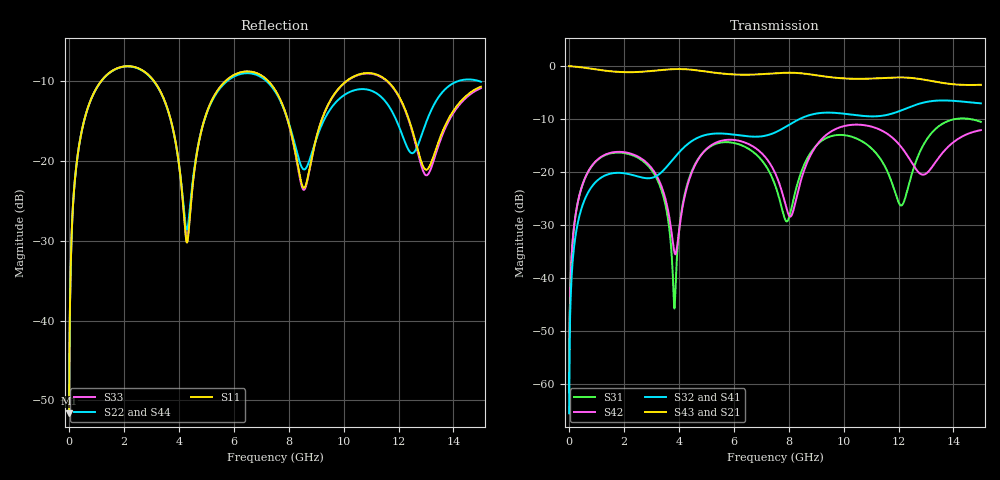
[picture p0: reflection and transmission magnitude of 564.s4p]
! Created with skrf 1.8.0 (http://scikit-rf.org).
# GHz S RI R 50.0
!freq ReS11 ImS11 ReS12 ImS12 ReS13 ImS13
! ReS14 ImS14
! ReS21 ImS21 ReS22 ImS22 ReS23 ImS23
! ReS24 ImS24
! ReS31 ImS31 ReS32 ImS32 ReS33 ImS33
! ReS34 ImS34
! ReS41 ImS41 ReS42 ImS42 ReS43 ImS43
! ReS44 ImS44
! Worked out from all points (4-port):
!   2499 points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, 5 MHz to 15 GHz, reference 50 ohm
!   strongest paths, dB at 5 MHz, 3.476 GHz, 7.19 GHz, 11.1 GHz, 15 GHz:
!     S43: 0.0, -0.7, -1.5, -2.3, -3.5
!     S21: 0.0, -0.7, -1.5, -2.3, -3.5
!     S32: -65.5, -19.5, -13.1, -9.5, -7.0
!     S41: -65.5, -19.5, -13.1, -9.5, -7.2
!     S42: -61.5, -24.4, -17.4, -11.5, -12.1
!     S31: -61.5, -25.4, -19.0, -15.9, -10.5
!   lowest |S11| = -51.6 dB at 5 MHz (marker M1), VSWR 1.01, Z = 50.2 + j0.159 ohm
!   |S11| at or under -10 dB: 3.105 GHz to 5.687 GHz (2.583 GHz wide, 58.7 % of centre); 7.271 GHz to 10.09 GHz (2.816 GHz wide, 32.5 % of centre); 11.61 GHz to end of sweep (the widest 3 of 4)
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0.005  0.00209 0.00159  0.9979 -0.00406  0.000106 0.00083  -0.000103 -0.000521
       0.9979 -0.00406  0.00209 0.00159  -0.000103 -0.000521  0.000107 0.00083
       0.000106 0.00083  -0.000103 -0.000521  0.00209 0.00159  0.9979 -0.00406
       -0.000103 -0.000521  0.000107 0.00083  0.9979 -0.00406  0.00209 0.00159
1.269279  0.2847 0.1717  0.5198 -0.7448  0.1296 0.0597  -0.0917 -0.00162
          0.5198 -0.7448  0.2832 0.1728  -0.0918 -0.00153  0.1335 0.0541
          0.1296 0.0597  -0.0918 -0.00153  0.2846 0.1717  0.5199 -0.7448
          -0.0917 -0.00162  0.1335 0.0541  0.5199 -0.7448  0.2832 0.1727
3.8391  0.0708 -0.1259  -0.8552 -0.38  -0.00495 -0.00148  -0.0521 0.1265
        -0.8552 -0.38  0.0764 -0.1213  -0.0509 0.127  -0.0156 -0.00818
        -0.00495 -0.00148  -0.0509 0.127  0.071 -0.125  -0.8554 -0.38
        -0.0521 0.1265  -0.0156 -0.00818  -0.8554 -0.38  0.0756 -0.1208
4.952063  0.125 0.1386  -0.8085 0.3747  0.1069 0.1181  0.1238 0.1857
          -0.8085 0.3747  0.1275 0.1351  0.1254 0.1848  0.1137 0.1123
          0.1069 0.1181  0.1254 0.1848  0.1256 0.1387  -0.8085 0.3744
          0.1238 0.1857  0.1137 0.1123  -0.8085 0.3744  0.1273 0.1363
8.578574  0.0683 -0.000629  0.837 0.1375  -0.0166 0.1182  0.0474 -0.3285
          0.837 0.1375  0.0885 -0.00639  0.0425 -0.3293  0.00702 0.1065
          -0.0166 0.1182  0.0425 -0.3293  0.0665 0.000801  0.8369 0.1386
          0.0474 -0.3285  0.00702 0.1065  0.8369 0.1386  0.0896 -0.0031
11.37974  0.3134 -0.1275  -0.1328 -0.7582  0.1248 -0.0316  -0.3201 0.1085
          -0.1328 -0.7582  0.2432 -0.066  -0.3186 0.1167  0.1017 -0.2255
          0.1248 -0.0316  -0.3186 0.1167  0.3114 -0.1257  -0.1292 -0.7592
          -0.3201 0.1085  0.1017 -0.2255  -0.1292 -0.7592  0.2439 -0.0663
15  0.2931 -0.00824  -0.2865 0.603  0.2926 -0.053  0.4297 0.0896
    -0.2865 0.603  0.3084 -0.0636  0.4384 0.077  0.2301 -0.0947
    0.2926 -0.053  0.4384 0.077  0.2868 0.00701  -0.2936 0.598
    0.4297 0.0896  0.2301 -0.0947  -0.2936 0.598  0.321 -0.0694
